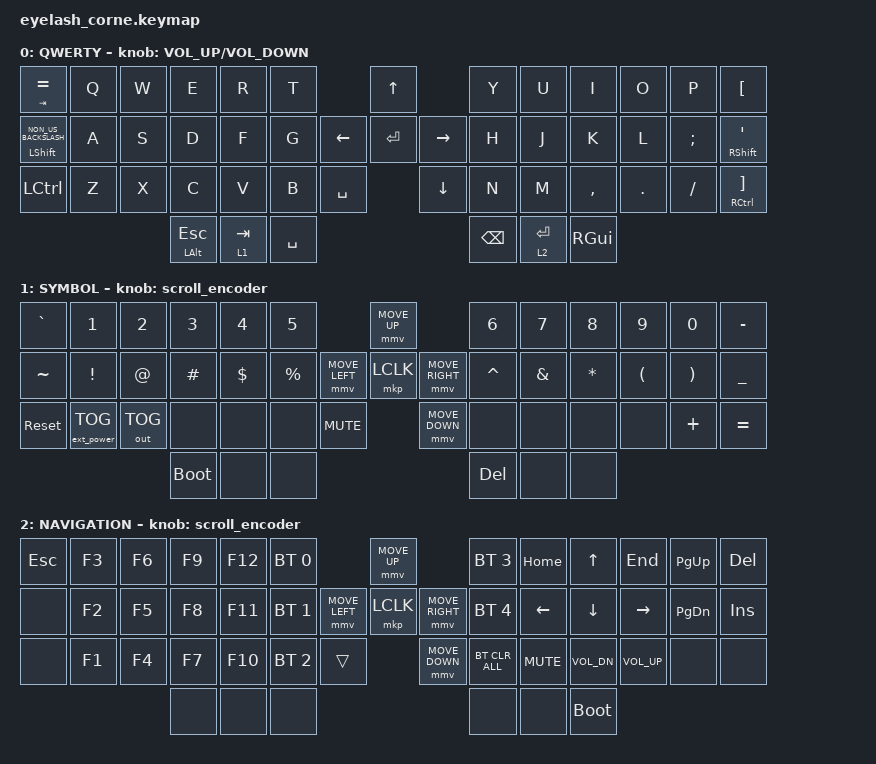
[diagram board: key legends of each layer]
#define ZMK_POINTING_DEFAULT_MOVE_VAL 1200  // 600
#define ZMK_POINTING_DEFAULT_SCRL_VAL 25   // 10

#include <input/processors.dtsi>
#include <zephyr/dt-bindings/input/input-event-codes.h>
#include <behaviors.dtsi>
#include <dt-bindings/zmk/bt.h>
#include <dt-bindings/zmk/ext_power.h>
#include <dt-bindings/zmk/keys.h>
#include <dt-bindings/zmk/outputs.h>
#include <dt-bindings/zmk/pointing.h>
#include <dt-bindings/zmk/rgb.h>

&mmv_input_listener { input-processors = <&zip_xy_scaler 2 1>; };

&msc_input_listener { input-processors = <&zip_scroll_scaler 2 1>; };

&msc {
    acceleration-exponent = <1>;      // 0
    time-to-max-speed-ms = <100>;       // 300
    delay-ms = <0>;                   // 0
};

&mmv {
    time-to-max-speed-ms = <500>;
    acceleration-exponent = <1>;
    trigger-period-ms = <16>;
};

&soft_off { hold-time-ms = <2000>; };

/ {
    behaviors {
        td0: td0 {
            compatible = "zmk,behavior-tap-dance";
            display-name = "Shift/Caps Lock Tap Dance";
            #binding-cells = <0>;
            bindings = <&kp LEFT_SHIFT>, <&kp CAPS>;
        };
    };

    rgb_encoder: rgb_encoder {
        compatible = "zmk,behavior-sensor-rotate";
        #sensor-binding-cells = <0>;
        bindings = <&rgb_ug RGB_BRI>, <&rgb_ug RGB_BRD>;
    };

    scroll_encoder: scroll_encoder {
        compatible = "zmk,behavior-sensor-rotate";
        #sensor-binding-cells = <0>;
        bindings = <&msc SCRL_DOWN>, <&msc SCRL_UP>;

        tap-ms = <100>;
    };

    combos {
        compatible = "zmk,combos";

        softoff {
            bindings = <&soft_off>;
            key-positions = <1 15 29>;
        };
    };

    keymap {
        compatible = "zmk,keymap";

        default_layer {
            display-name = "QWERTY";
            bindings = <
&mt TAB EQUAL                    &kp Q  &kp W  &kp E                &kp R      &kp T                             &kp UP                &kp Y          &kp U         &kp I          &kp O    &kp P     &kp LEFT_BRACKET
&mt LEFT_SHIFT NON_US_BACKSLASH  &kp A  &kp S  &kp D                &kp F      &kp G                   &kp LEFT  &kp ENTER  &kp RIGHT  &kp H          &kp J         &kp K          &kp L    &kp SEMI  &mt RIGHT_SHIFT SQT
&kp LCTRL                        &kp Z  &kp X  &kp C                &kp V      &kp B      &kp SPACE              &kp DOWN              &kp N          &kp M         &kp COMMA      &kp DOT  &kp FSLH  &mt RCTRL RIGHT_BRACKET
                                               &mt LEFT_ALT ESCAPE  &lt 1 TAB  &kp SPACE                                               &kp BACKSPACE  &lt 2 RETURN  &kp RIGHT_GUI
            >;

            sensor-bindings = <&inc_dec_kp C_VOLUME_UP C_VOLUME_DOWN>;
        };

        lower_layer {
            display-name = "SYMBOL";
            bindings = <
&kp GRAVE   &kp N1             &kp N2        &kp N3       &kp N4      &kp N5                                     &mmv MOVE_UP                     &kp N6      &kp N7         &kp N8        &kp N9                &kp N0                 &kp MINUS
&kp TILDE   &kp EXCLAMATION    &kp AT        &kp HASH     &kp DOLLAR  &kp PERCENT                &mmv MOVE_LEFT  &mkp LCLK       &mmv MOVE_RIGHT  &kp CARET   &kp AMPERSAND  &kp ASTERISK  &kp LEFT_PARENTHESIS  &kp RIGHT_PARENTHESIS  &kp UNDERSCORE
&sys_reset  &ext_power EP_TOG  &out OUT_TOG  &none        &none       &none        &kp C_MUTE                    &mmv MOVE_DOWN                   &none       &none          &none         &none                 &kp PLUS               &kp EQUAL
                                             &bootloader  &none       &none                                                                       &kp DELETE  &none          &none
            >;

            sensor-bindings = <&scroll_encoder>;
        };

        raise_layer {
            display-name = "NAVIGATION";
            bindings = <
&kp ESCAPE  &kp F3  &kp F6  &kp F9  &kp F12  &bt BT_SEL 0                            &mmv MOVE_UP                     &bt BT_SEL 3    &kp HOME    &kp UP_ARROW  &kp END       &kp PAGE_UP    &kp DELETE
&none       &kp F2  &kp F5  &kp F8  &kp F11  &bt BT_SEL 1            &mmv MOVE_LEFT  &mkp LCLK       &mmv MOVE_RIGHT  &bt BT_SEL 4    &kp LEFT    &kp DOWN      &kp RIGHT     &kp PAGE_DOWN  &kp INSERT
&none       &kp F1  &kp F4  &kp F7  &kp F10  &bt BT_SEL 2  &trans                    &mmv MOVE_DOWN                   &bt BT_CLR_ALL  &kp K_MUTE  &kp C_VOL_DN  &kp C_VOL_UP  &none          &none
                            &none   &none    &none                                                                    &none           &none       &bootloader
            >;

            sensor-bindings = <&scroll_encoder>;
        };
    };
};
